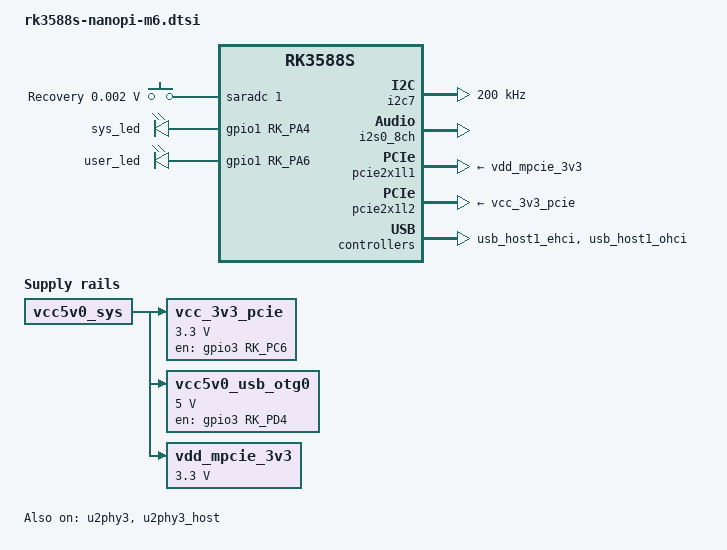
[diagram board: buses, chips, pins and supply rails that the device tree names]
// SPDX-License-Identifier: (GPL-2.0+ OR MIT)

#include "rk3588s-nanopi.dtsi"

/ {
	adc-keys-1 {
		compatible = "adc-keys";
		io-channels = <&saradc 1>;
		io-channel-names = "buttons";
		keyup-threshold-microvolt = <1800000>;
		poll-interval = <100>;

		button-maskrom {
			label = "Recovery";
			linux,code = <KEY_VENDOR>;
			press-threshold-microvolt = <1800>;
		};
	};

	leds {
		compatible = "gpio-leds";

		sys_led: led-0 {
			label = "sys_led";
			gpios = <&gpio1 RK_PA4 GPIO_ACTIVE_HIGH>;
			linux,default-trigger = "heartbeat";
			pinctrl-names = "default";
			pinctrl-0 = <&sys_led_pin>;
		};

		user_led: led-1 {
			label = "user_led";
			gpios = <&gpio1 RK_PA6 GPIO_ACTIVE_HIGH>;
			pinctrl-names = "default";
			pinctrl-0 = <&user_led_pin>;
		};
	};

	vcc_3v3_pcie: regulator-vcc-3v3-pcie {
		compatible = "regulator-fixed";
		enable-active-high;
		gpios = <&gpio3 RK_PC6 GPIO_ACTIVE_HIGH>;
		pinctrl-names = "default";
		pinctrl-0 = <&pcie2_2_pwren>;
		regulator-name = "vcc_3v3_pcie";
		regulator-min-microvolt = <3300000>;
		regulator-max-microvolt = <3300000>;
		vin-supply = <&vcc5v0_sys>;
	};

	vcc5v0_usb_otg0: regulator-vcc5v0-usb-otg0 {
		compatible = "regulator-fixed";
		enable-active-high;
		gpios = <&gpio3 RK_PD4 GPIO_ACTIVE_HIGH>;
		pinctrl-names = "default";
		pinctrl-0 = <&typec5v_pwren>;
		regulator-name = "vcc5v0_usb_otg0";
		regulator-min-microvolt = <5000000>;
		regulator-max-microvolt = <5000000>;
		vin-supply = <&vcc5v0_sys>;
	};

	vdd_mpcie_3v3: regulator-vdd-mpcie-3v3 {
		compatible = "regulator-fixed";
		/* Controlled by EXT_EN on RK806 */
		regulator-name = "vdd_mpcie_3v3";
		regulator-min-microvolt = <3300000>;
		regulator-max-microvolt = <3300000>;
		vin-supply = <&vcc5v0_sys>;
	};
};

&i2c7 {
	clock-frequency = <200000>;
	status = "okay";
};

&i2s0_8ch {
	pinctrl-names = "default";
	pinctrl-0 = <&i2s0_lrck
		     &i2s0_mclk
		     &i2s0_sclk
		     &i2s0_sdi0
		     &i2s0_sdo0>;
	status = "okay";
};

&pcie2x1l1 { /* M.2 E-key 2230 */
	vpcie3v3-supply = <&vdd_mpcie_3v3>;
};

&pcie2x1l2 { /* M.2 M-key 2280 */
	pinctrl-0 = <&pcie20x1_2_perstn_m0>, <&pcie20x1m0_clkreqn>, <&pcie20x1m0_waken>;
	vpcie3v3-supply = <&vcc_3v3_pcie>;
};

&pinctrl {
	gpio-leds {
		sys_led_pin: sys-led-pin {
			rockchip,pins = <1 RK_PA4 RK_FUNC_GPIO &pcfg_pull_none>;
		};

		user_led_pin: user-led-pin {
			rockchip,pins = <1 RK_PA6 RK_FUNC_GPIO &pcfg_pull_none>;
		};
	};

	headphone {
		hp_det: hp-det {
			rockchip,pins = <1 RK_PC4 RK_FUNC_GPIO &pcfg_pull_none>;
		};
	};

	pcie {
		pcie2_2_pwren: pcie2-2-pwren {
			rockchip,pins = <3 RK_PC6 RK_FUNC_GPIO &pcfg_pull_none>;
		};
	};

	usb {
		typec5v_pwren: typec5v-pwren {
			rockchip,pins = <3 RK_PD4 RK_FUNC_GPIO &pcfg_pull_none>;
		};
	};
};

&u2phy3 {
	status = "okay";
};

&u2phy3_host {
	phy-supply = <&vcc5v0_host_20>;
	status = "okay";
};

&usb_host1_ehci {
	status = "okay";
};

&usb_host1_ohci {
	status = "okay";
};
